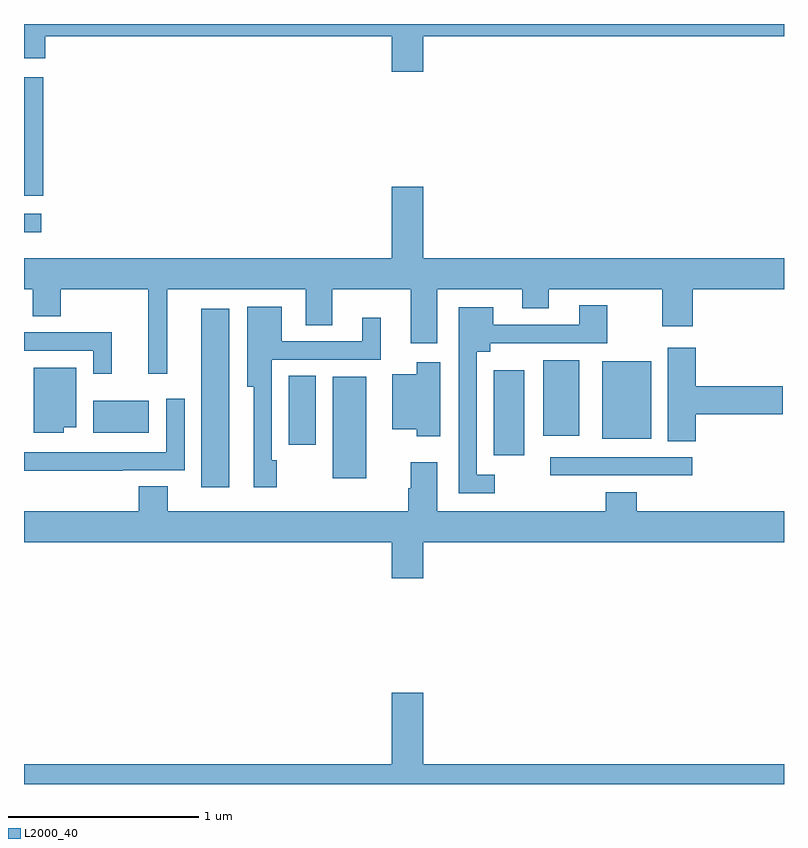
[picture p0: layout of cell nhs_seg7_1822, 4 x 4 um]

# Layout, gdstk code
import gdstk
lib = gdstk.Library(unit=1e-6, precision=1e-09)
def R(c, l, rs):  # rectangles x0, y0, x1, y1
    for r in rs: c.add(gdstk.rectangle(r[:2], r[2:], *l))
def P(c, l, *ps):  # polygons
    for p in ps: c.add(gdstk.Polygon(p, *l))
L2000_40 = (2000, 40)

nhs_seg7_1822 = lib.new_cell('nhs_seg7_1822')
R(nhs_seg7_1822, L2000_40, [(235.934,1011.561,236.08,1012.501), (236.624,1011.608,236.8,1012.144), (237.771,1011.624,238.516,1011.72), (237.473,1011.729,237.634,1012.177), (236.393,1011.786,236.536,1012.148), (238.043,1011.818,238.3,1012.225), (237.734,1011.833,237.922,1012.231), (235.364,1011.848,235.657,1012.018), (235,1012.904,235.09,1013.001), (235,1013.097,235.1,1013.721)])
P(nhs_seg7_1822, L2000_40, [(237.1,1013.936),(239,1013.936),(239,1014),(235,1014),(235,1013.819),(235.112,1013.819),(235.112,1013.936),(236.936,1013.936),(236.936,1013.748),(237.1,1013.748)],
  [(235.754,1012.604),(236.483,1012.604),(236.483,1012.414),(236.623,1012.414),(236.623,1012.604),(237.035,1012.604),(237.035,1012.32),(237.175,1012.32),(237.175,1012.604),(237.623,1012.604),(237.623,1012.505),(237.763,1012.505),(237.763,1012.604),(238.36,1012.604),(238.36,1012.41),(238.52,1012.41),(238.52,1012.604),(239,1012.604),(239,1012.768),(237.1,1012.768),(237.1,1013.143),(236.936,1013.143),(236.936,1012.768),(235,1012.768),(235,1012.604),(235.046,1012.604),(235.046,1012.462),(235.194,1012.462),(235.194,1012.604),(235.655,1012.604),(235.655,1012.158),(235.754,1012.158)],
  [(237.478,1011.627),(237.384,1011.627),(237.384,1012.274),(237.454,1012.274),(237.454,1012.32),(238.071,1012.32),(238.071,1012.519),(237.923,1012.519),(237.923,1012.416),(237.469,1012.416),(237.469,1012.51),(237.288,1012.51),(237.288,1011.531),(237.478,1011.531)],
  [(236.331,1011.705),(236.304,1011.705),(236.304,1012.233),(236.878,1012.233),(236.878,1012.453),(236.78,1012.453),(236.78,1012.329),(236.356,1012.329),(236.356,1012.513),(236.174,1012.513),(236.174,1012.091),(236.208,1012.091),(236.208,1011.561),(236.331,1011.561)],
  [(235.463,1012.377),(235,1012.377),(235,1012.281),(235.365,1012.281),(235.365,1012.158),(235.463,1012.158)],
  [(238.535,1011.947),(238.993,1011.947),(238.993,1012.094),(238.535,1012.094),(238.535,1012.297),(238.388,1012.297),(238.388,1011.805),(238.535,1011.805)],
  [(237.19,1012.219),(237.068,1012.219),(237.068,1012.156),(236.939,1012.156),(236.939,1011.866),(237.068,1011.866),(237.068,1011.83),(237.19,1011.83)],
  [(235.21,1011.878),(235.276,1011.878),(235.276,1012.192),(235.052,1012.192),(235.052,1011.848),(235.21,1011.848)],
  [(235.52,1011.651),(235.845,1011.651),(235.845,1012.027),(235.749,1012.027),(235.749,1011.747),(235,1011.747),(235,1011.65),(235.52,1011.65)],
  [(237.1,1011.272),(239,1011.272),(239,1011.436),(238.226,1011.436),(238.226,1011.535),(238.061,1011.535),(238.061,1011.436),(237.175,1011.436),(237.175,1011.694),(237.035,1011.694),(237.035,1011.557),(237.023,1011.557),(237.023,1011.436),(235.756,1011.436),(235.756,1011.566),(235.604,1011.566),(235.604,1011.436),(235,1011.436),(235,1011.272),(236.936,1011.272),(236.936,1011.084),(237.1,1011.084)],
  [(239,1010.104),(237.1,1010.104),(237.1,1010.479),(236.936,1010.479),(236.936,1010.104),(235,1010.104),(235,1010),(239,1010)])

lib.write_gds('nhs_seg7_1822.gds')
